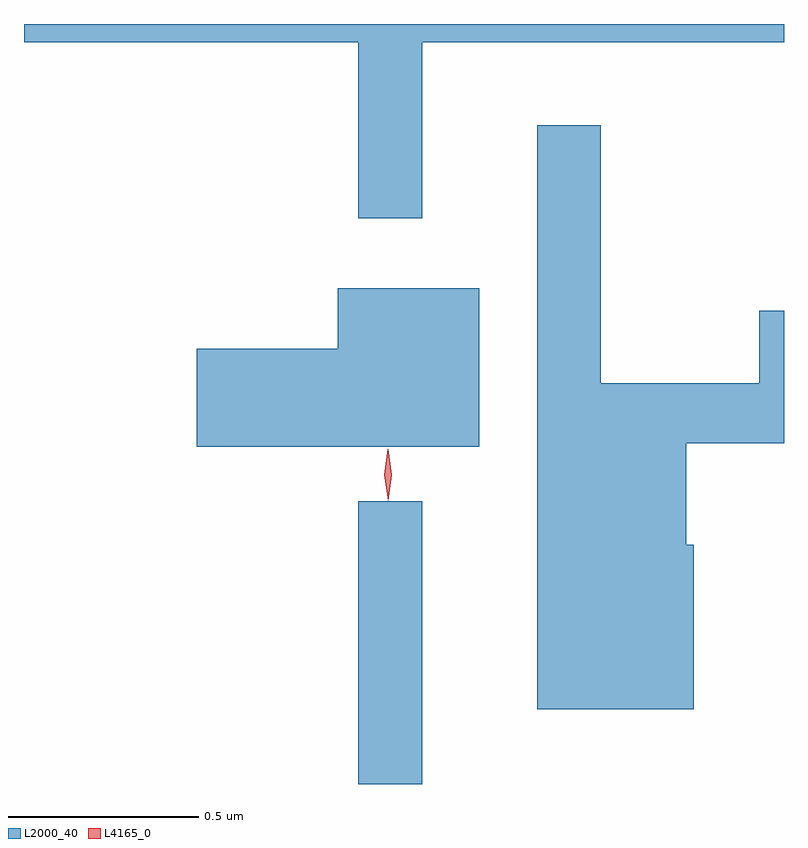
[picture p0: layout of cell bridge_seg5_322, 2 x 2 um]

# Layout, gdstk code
import gdstk
lib = gdstk.Library(unit=1e-6, precision=1e-09)
def R(c, l, rs):  # rectangles x0, y0, x1, y1
    for r in rs: c.add(gdstk.rectangle(r[:2], r[2:], *l))
def P(c, l, *ps):  # polygons
    for p in ps: c.add(gdstk.Polygon(p, *l))
L2000_40 = (2000, 40)
L4165_0 = (4165, 0)

bridge_seg5_322 = lib.new_cell('bridge_seg5_322')
R(bridge_seg5_322, L2000_40, [(656.761,1474.824,656.929,1475.568)])
P(bridge_seg5_322, L2000_40, [(656.929,1476.776),(657.881,1476.776),(657.881,1476.824),(655.881,1476.824),(655.881,1476.776),(656.761,1476.776),(656.761,1476.313),(656.929,1476.313)],
  [(657.644,1475.454),(657.624,1475.454),(657.624,1475.721),(657.881,1475.721),(657.881,1476.069),(657.816,1476.069),(657.816,1475.879),(657.399,1475.879),(657.399,1476.558),(657.231,1476.558),(657.231,1475.021),(657.644,1475.021)],
  [(657.079,1476.129),(656.706,1476.129),(656.706,1475.969),(656.336,1475.969),(656.336,1475.711),(657.079,1475.711)])
P(bridge_seg5_322, L4165_0, [(656.839,1475.573),(656.829,1475.636),(656.838,1475.699),(656.839,1475.7),(656.84,1475.699),(656.849,1475.636),(656.84,1475.573),(656.84,1475.573)],
  [(656.839,1475.57),(656.829,1475.638),(656.838,1475.705),(656.838,1475.706),(656.839,1475.705),(656.849,1475.638),(656.84,1475.57),(656.84,1475.57)])

lib.write_gds('bridge_seg5_322.gds')
